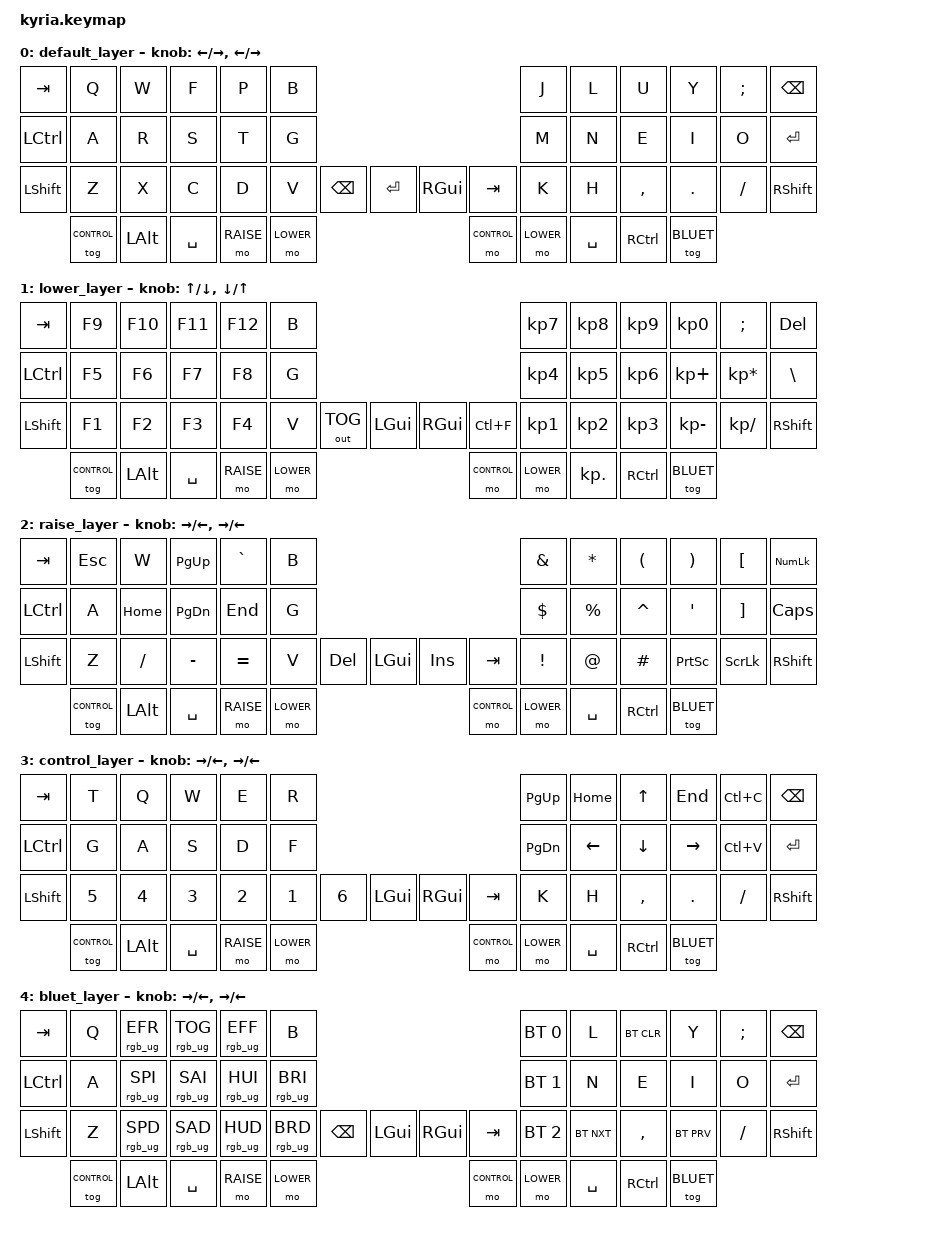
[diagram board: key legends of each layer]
/*
 * Copyright (c) 2020 The ZMK Contributors
 *
 * SPDX-License-Identifier: MIT
 */

#include <behaviors.dtsi>
#include <dt-bindings/zmk/keys.h>
#include <dt-bindings/zmk/bt.h>
#include <dt-bindings/zmk/outputs.h>
#include <dt-bindings/zmk/rgb.h>

#define DEFAULT 0
#define LOWER   1
#define RAISE   2
#define CONTROL 3
#define BLUET	4

/ {
    conditional_layers {
        compatible = "zmk,conditional-layers";
        tri_layer {
            if-layers = <1 3>;
            then-layer = <4>;
        };
    };
};

/ {
	keymap {
		compatible = "zmk,keymap";

		default_layer {
// COLEMAK DH primary layout
// ---------------------------------------------------------------------------------------------------------------------------------
// |  TAB  |  Q  |  W  |  F    |  P   |   B   |                                          |   J   |  L    |  U    |  Y   |   ;   | BkSp |
// |  CTRL |  A  |  R  |  S    |  T   |   G   |                                          |   M   |  N    |  E    |  I   |   O   | ENT  |
// | SHIFT |  Z  |  X  |  C    |  D   |   V   |  BkSp   |  ENTER  |  |  R GUI  |   TAB   |   K   |  H    |  ,    |  .   |   /   | SHFT |
//                     | CONTR | ALT  | SPACE |  RAISE  |  LOWER  |  |  CONTR  |  LOWER  | SPACE | RCTL  | BLUET |
			bindings = <
	&kp TAB    &kp Q &kp W &kp F &kp P &kp B                                                &kp J &kp L  &kp U     &kp Y   &kp SEMI &kp BSPC
	&kp LCTRL  &kp A &kp R &kp S &kp T &kp G                                                &kp M &kp N  &kp E     &kp I   &kp O    &kp ENTER
	&kp LSHFT  &kp Z &kp X &kp C &kp D &kp V      &kp BSPC  &kp ENTER     &kp RGUI &kp TAB  &kp K &kp H  &kp COMMA &kp DOT &kp FSLH &kp RSHFT
	              &tog CONTROL &kp LALT &kp SPACE &mo RAISE &mo LOWER     &mo CONTROL &mo LOWER &kp SPACE &kp RCTRL &tog BLUET
			>;

			sensor-bindings = <&inc_dec_kp LEFT RIGHT &inc_dec_kp LEFT RIGHT>;
		};

		lower_layer {
// F keys and Numpad
// ---------------------------------------------------------------------------------------------------------------------------------
// |  TAB  | F 9 | F10 | F11   | F12  |   B   |                                          |   7   |  8    |  9    |  0   |   ;   | DEL  |
// |  CTRL | F 5 | F 6 | F 7   | F 8  |   G   |                                          |   4   |  5    |  6    |  +   |   *   |  \   |
// | SHIFT | F 1 | F 2 | F 3   | F 4  |   V   | BT TOG  |  L GUI  |  |  R GUI  |  FIND   |   1   |  2    |  3    |  -   |   /   | SHFT |
//                     | CONTR | ALT  | SPACE |  RAISE  |  LOWER  |  |  CONTR  |  LOWER  |   .   | RCTL  | BLUET |
			bindings = <
	&kp TAB    &kp F9 &kp F10 &kp F11 &kp F12 &kp B                                                 &kp KP_N7 &kp KP_N8 &kp KP_N9 &kp KP_N0    &kp SEMI        &kp DEL
	&kp LCTRL  &kp F5 &kp F6  &kp F7  &kp F8  &kp G                                                 &kp KP_N4 &kp KP_N5 &kp KP_N6 &kp KP_PLUS  &kp KP_MULTIPLY &kp BSLH
	&kp LSHFT  &kp F1 &kp F2  &kp F3  &kp F4  &kp V   &out OUT_TOG &kp LGUI      &kp RGUI &kp LC(F) &kp KP_N1 &kp KP_N2 &kp KP_N3 &kp KP_MINUS &kp KP_DIVIDE   &kp RSHFT
	                     &tog CONTROL &kp LALT &kp SPACE &mo RAISE &mo LOWER     &mo CONTROL &mo LOWER &kp KP_DOT &kp RCTRL &tog BLUET
			>;

			sensor-bindings = <&inc_dec_kp UP DOWN &inc_dec_kp DOWN UP>;
		};

		raise_layer {
// Symbols and basic navigation
// ---------------------------------------------------------------------------------------------------------------------------------
// |  TAB  | ESC |  W  | PgUp  |  ~   |   B   |                                          |   &   |  *    |  (    |  )   |   [   | NmLk |
// |  CTRL |  A  | HME | PgDn  | END  |   G   |                                          |   $   |  %    |  ^    |  '   |   ]   | Caps |
// | SHIFT |  Z  |  /  |  -    |  =   |   V   |  DEL    |  L GUI  |  |  INSERT |   TAB   |   !   |  @    |  #    | PrSc | ScrLk | SHFT |
//                     | CONTR | ALT  | SPACE |  RAISE  |  LOWER  |  |  CONTR  |  LOWER  | SPACE | RCTL  | BLUET |
			bindings = <
	&kp TAB    &kp ESC &kp W    &kp PG_UP &kp GRAVE &kp B                                         &kp AMPS &kp ASTRK &kp LPAR  &kp RPAR  &kp LBKT &kp KP_NUM
	&kp LCTRL  &kp A   &kp HOME &kp PG_DN &kp END   &kp G                                         &kp DLLR &kp PRCNT &kp CARET &kp APOS  &kp RBKT &kp CAPS
	&kp LSHFT  &kp Z   &kp FSLH &kp MINUS &kp EQUAL &kp V &kp DEL &kp LGUI   &kp INS     &kp TAB  &kp EXCL &kp AT    &kp HASH  &kp PSCRN &kp SLCK &kp RSHFT
	                   &tog CONTROL &kp LALT &kp SPACE &mo RAISE &mo LOWER   &mo CONTROL &mo LOWER &kp SPACE &kp RCTRL &tog BLUET
			>;

			sensor-bindings = <&inc_dec_kp RIGHT LEFT &inc_dec_kp RIGHT LEFT>;
		};

		control_layer {
// Game / right hand nav
// ---------------------------------------------------------------------------------------------------------------------------------
// |  TAB  |  T  |  Q  |  W    |  E   |   R   |                                          | PgUp  | HOME  |  UP   |  END  | Copy  | BkSp |
// |  CTRL |  G  |  A  |  S    |  D   |   F   |                                          | PgDn  | LEFT  | DOWN  | RIGHT | Paste | ENT  |
// | SHIFT |  5  |  4  |  3    |  2   |   1   |    6    |  L GUI  |  |  R GUI  |   TAB   |   K   |  H    |  ,    |  .    |   /   | SHFT |
//                     | CONTR | ALT  | SPACE |  RAISE  |  LOWER  |  |  CONTR  |  LOWER  | SPACE | RCTL  | BLUET |
			bindings = <
	&kp TAB    &kp T  &kp Q  &kp W  &kp E  &kp R                                                &kp PG_UP &kp HOME &kp UP    &kp END   &kp LC(C) &kp BSPC
	&kp LCTRL  &kp G  &kp A  &kp S  &kp D  &kp F                                                &kp PG_DN &kp LEFT &kp DOWN  &kp RIGHT &kp LC(V) &kp ENTER
	&kp LSHFT  &kp N5 &kp N4 &kp N3 &kp N2 &kp N1 &kp N6    &kp LGUI          &kp RGUI &kp TAB  &kp K     &kp H    &kp COMMA &kp DOT   &kp FSLH  &kp RSHFT
	              &tog CONTROL &kp LALT &kp SPACE &mo RAISE &mo LOWER     &mo CONTROL &mo LOWER &kp SPACE &kp RCTRL &tog BLUET
			>;

			sensor-bindings = <&inc_dec_kp RIGHT LEFT &inc_dec_kp RIGHT LEFT>;
		};

		bluet_layer {
// Bluetooth and RGB command layer. Access with LOWER+CONTROL or toggle. 3 profiles!
// ---------------------------------------------------------------------------------------------------------------------------------
// |  TAB  |  Q  | RGB EFR | RGB TOG | RGB EFF |    B    |                                          | BT 0  |  L     | BT Clr |   Y    |   ;   | BkSp |
// |  CTRL |  A  | RGB SPI | RGB SAI | RGB HUI | RGB BRI |                                          | BT 1  |  N     |  E     |   I    |   O   | ENT  |
// | SHIFT |  Z  | RGB SPD | RGB SAD | RGB HUD | RGB BRD |  BkSp   |  L GUI  |  |  R GUI  |   TAB   | BT 2  | BT NXT |  ,     | BT PRV |   /   | SHFT |
//                                | CONTR | ALT  | SPACE |  RAISE  |  LOWER  |  |  CONTR  |  LOWER  | SPACE | RCTL   | BLUET  |
			bindings = <
	&kp TAB    &kp Q &rgb_ug RGB_EFR &rgb_ug RGB_TOG &rgb_ug RGB_EFF &kp B                                                    &bt BT_SEL 0 &kp L      &bt BT_CLR &kp Y      &kp SEMI &kp BSPC
	&kp LCTRL  &kp A &rgb_ug RGB_SPI &rgb_ug RGB_SAI &rgb_ug RGB_HUI &rgb_ug RGB_BRI                                          &bt BT_SEL 1 &kp N      &kp E      &kp I      &kp O    &kp ENTER
	&kp LSHFT  &kp Z &rgb_ug RGB_SPD &rgb_ug RGB_SAD &rgb_ug RGB_HUD &rgb_ug RGB_BRD &kp BSPC &kp LGUI   &kp RGUI    &kp TAB  &bt BT_SEL 2 &bt BT_NXT &kp COMMA  &bt BT_PRV &kp FSLH &kp RSHFT
	                                                &tog CONTROL &kp LALT &kp SPACE &mo RAISE &mo LOWER  &mo CONTROL &mo LOWER &kp SPACE &kp RCTRL &tog BLUET
			>;

			sensor-bindings = <&inc_dec_kp RIGHT LEFT &inc_dec_kp RIGHT LEFT>;
		};
	};
};
